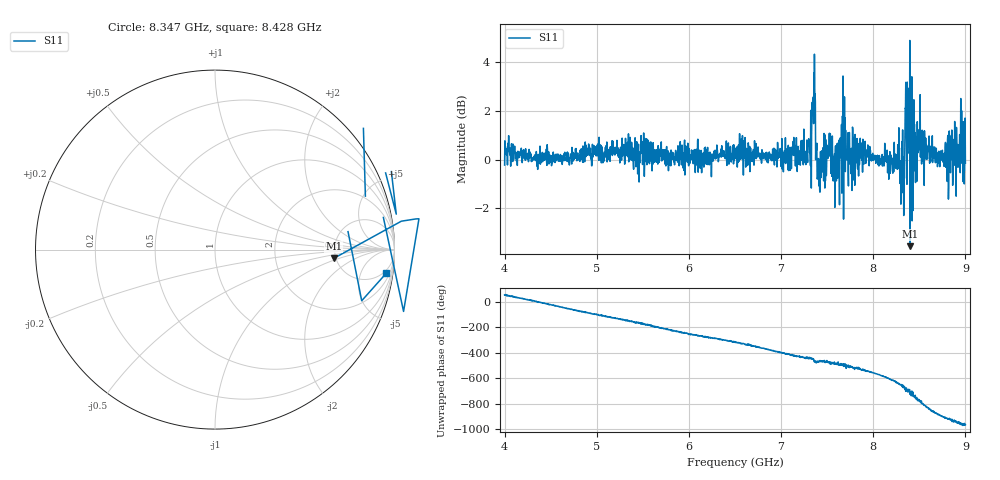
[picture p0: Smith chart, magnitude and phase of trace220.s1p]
! Created with skrf 1.8.0 (http://scikit-rf.org).
# Hz S RI R 50.0
!freq ReS11 ImS11
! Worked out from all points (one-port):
!   1601 points, 4 GHz to 9 GHz, reference 50 ohm
!   lowest |S11| = -3.6 dB at 8.4 GHz (marker M1), VSWR 4.94, Z = 239 - j41.9 ohm
!   |S11| at or under -10 dB: nowhere
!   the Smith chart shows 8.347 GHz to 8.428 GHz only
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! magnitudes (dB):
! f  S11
! 4 GHz  -0.2
! 4.028 GHz  0.3
! 4.625 GHz  -0.2
! 5.25 GHz  -0.1
! 5.875 GHz  0.3
! 6.5 GHz  0.4
! 7.125 GHz  0.4
! 7.294 GHz  0.5
! 7.347 GHz  2.4
! 7.366 GHz  2.6
! 7.4 GHz  -0.7
! 7.416 GHz  -0.6
! 7.509 GHz  0.1
! 7.609 GHz  0.7
! 7.669 GHz  0.9
! 7.75 GHz  -0.1
! 8.259 GHz  0.1
! 8.312 GHz  0.7
! 8.356 GHz  1.6
! 8.372 GHz  0.4
! 8.375 GHz  0.2
! 8.4 GHz  -3.6
! 8.425 GHz  -1.3
! 8.509 GHz  2.7
! 8.562 GHz  0.6
! 8.812 GHz  0.1
! 8.972 GHz  0.6
! 9 GHz  -0.1
